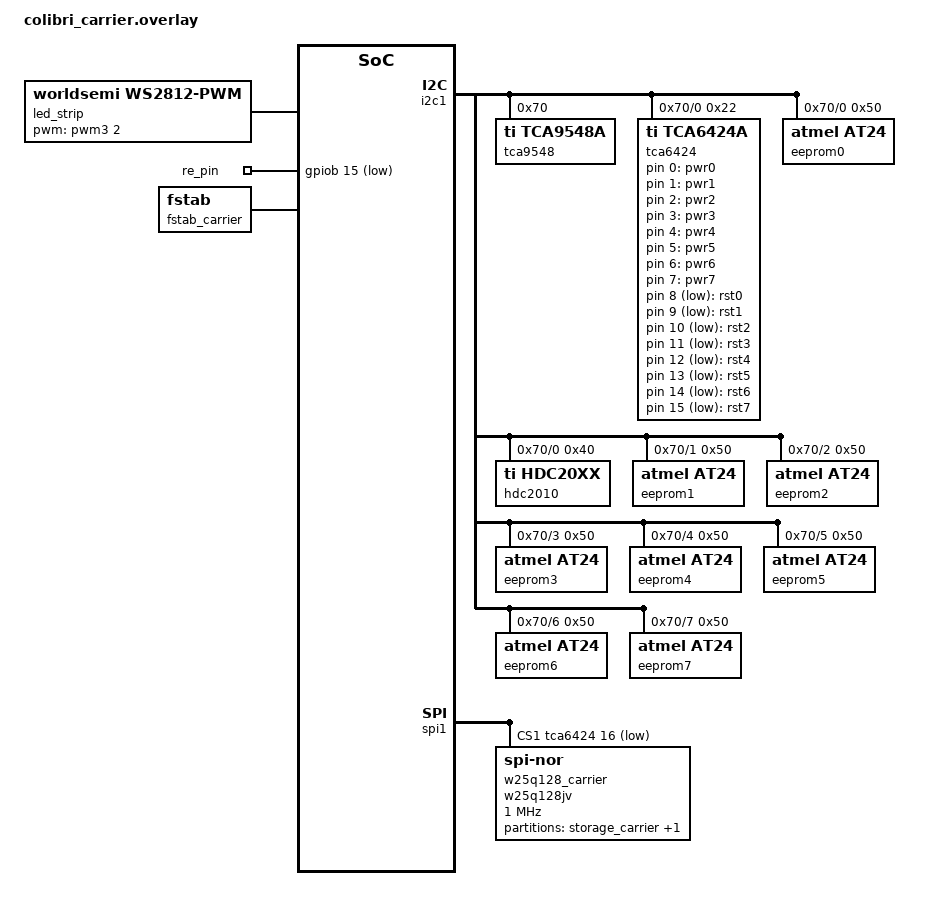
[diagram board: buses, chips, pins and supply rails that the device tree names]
#include <zephyr/dt-bindings/gpio/gpio.h>
#include <zephyr/dt-bindings/pwm/pwm.h>
#include <zephyr/dt-bindings/led/led.h>
#include <zephyr/dt-bindings/dma/stm32_dma.h>

/ {
	aliases {
		led-strip = &led_strip;
		storage-carrier-partition = &storage_carrier_partition;
	};

	/* Power and Reset control for slots */
	slot_ctrl_pwr: slot-ctrl-pwr {
		compatible = "gpio-leds";

		/* Each pin must be a child node for this compatible */
		pwr0: pwr_0 {gpios = <&tca6424 0 GPIO_ACTIVE_HIGH>;};
		pwr1: pwr_1 {gpios = <&tca6424 1 GPIO_ACTIVE_HIGH>;};
		pwr2: pwr_2 {gpios = <&tca6424 2 GPIO_ACTIVE_HIGH>;};
		pwr3: pwr_3 {gpios = <&tca6424 3 GPIO_ACTIVE_HIGH>;};
		pwr4: pwr_4 {gpios = <&tca6424 4 GPIO_ACTIVE_HIGH>;};
		pwr5: pwr_5 {gpios = <&tca6424 5 GPIO_ACTIVE_HIGH>;};
		pwr6: pwr_6 {gpios = <&tca6424 6 GPIO_ACTIVE_HIGH>;};
		pwr7: pwr_7 {gpios = <&tca6424 7 GPIO_ACTIVE_HIGH>;};
	};

	slot_ctrl_rst: slot-ctrl-rst {
		compatible = "gpio-leds";
		rst0: rst_0 {gpios = <&tca6424 8 GPIO_ACTIVE_LOW>;};
		rst1: rst_1 {gpios = <&tca6424 9 GPIO_ACTIVE_LOW>;};
		rst2: rst_2 {gpios = <&tca6424 10 GPIO_ACTIVE_LOW>;};
		rst3: rst_3 {gpios = <&tca6424 11 GPIO_ACTIVE_LOW>;};
		rst4: rst_4 {gpios = <&tca6424 12 GPIO_ACTIVE_LOW>;};
		rst5: rst_5 {gpios = <&tca6424 13 GPIO_ACTIVE_LOW>;};
		rst6: rst_6 {gpios = <&tca6424 14 GPIO_ACTIVE_LOW>;};
		rst7: rst_7 {gpios = <&tca6424 15 GPIO_ACTIVE_LOW>;};
	};

	/* LED_STATUS on PB5 (TIM3_CH2) driven as WS2812B via PWM + DMA. */
	led_strip: ws2812 {
		compatible = "worldsemi,ws2812-pwm";
		chain-length = <8>;
		color-mapping = <LED_COLOR_ID_GREEN LED_COLOR_ID_RED LED_COLOR_ID_BLUE>;
		pwms = <&pwm3 2 PWM_NSEC(1250) PWM_POLARITY_INVERTED>;
		dmas = <&dma1 2 5
		        (STM32_DMA_MEMORY_TO_PERIPH |
				STM32_DMA_MEM_INC |
				STM32_DMA_PERIPH_NO_INC |
				STM32_DMA_PRIORITY_HIGH)
		        0>;
		dma-names = "update";
	};

	rs485_ctrl {
		compatible = "gpio-leds";
		re_pin: re_pin {
			gpios = <&gpiob 15 GPIO_ACTIVE_LOW>;
		};
	};

	fstab_carrier {
		compatible = "zephyr,fstab";
		lfs_carrier: lfs_carrier {
			compatible = "zephyr,fstab,littlefs";
			read-size = <32>;
			prog-size = <32>;
			cache-size = <256>;
			lookahead-size = <64>;
			block-cycles = <512>;
			partition = <&storage_carrier_partition>;
			mount-point = "/carrier";
			automount;
		};
	};
};


&i2c1 {
	status = "okay";

	/* I2C Multiplexer */
	tca9548: tca9548a@70 {
		compatible = "ti,tca9548a";
		reg = <0x70>;
		#address-cells = <1>;
		#size-cells = <0>;
		status = "okay";

		i2c_chan0: i2c@0 {
			reg = <0>;
			#address-cells = <1>;
			#size-cells = <0>;

			/* I/O Expander */
			tca6424: tca6424@22 {
				compatible = "ti,tca6424a";
				reg = <0x22>;
				gpio-controller;
				#gpio-cells = <2>;
				ngpios = <24>;
				status = "okay";
			};

			/* M24M01 EEPROM (1Mbit) */
			eeprom0: m24m01@50 {
				compatible = "atmel,at24";
				reg = <0x50>;
				size = <131072>;
				pagesize = <256>;
				address-width = <16>;
				timeout = <5>;
				status = "okay";
			};

			/* Texas Instruments HDC2010 temperature/humidity sensor. */
			hdc2010: hdc2010@40 {
				compatible = "ti,hdc20xx";
				reg = <0x40>;
				status = "okay";
			};
		};

		i2c_chan1: i2c@1 {
			reg = <1>;
			#address-cells = <1>;
			#size-cells = <0>;
			/* M24M01 EEPROM (1Mbit) */
			eeprom1: m24m01@50 {
				compatible = "atmel,at24";
				reg = <0x50>;
				size = <131072>;
				pagesize = <256>;
				address-width = <16>;
				timeout = <5>;
				status = "okay";
			};
		};

		i2c_chan2: i2c@2 {
			reg = <2>;
			#address-cells = <1>;
			#size-cells = <0>;
			/* M24M01 EEPROM (1Mbit) */
			eeprom2: m24m01@50 {
				compatible = "atmel,at24";
				reg = <0x50>;
				size = <131072>;
				pagesize = <256>;
				address-width = <16>;
				timeout = <5>;
				status = "okay";
			};
		};

		i2c_chan3: i2c@3 {
			reg = <3>;
			#address-cells = <1>;
			#size-cells = <0>;
			/* M24M01 EEPROM (1Mbit) */
			eeprom3: m24m01@50 {
				compatible = "atmel,at24";
				reg = <0x50>;
				size = <131072>;
				pagesize = <256>;
				address-width = <16>;
				timeout = <5>;
				status = "okay";
			};
		};

		i2c_chan4: i2c@4 {
			reg = <4>;
			#address-cells = <1>;
			#size-cells = <0>;
			/* M24M01 EEPROM (1Mbit) */
			eeprom4: m24m01@50 {
				compatible = "atmel,at24";
				reg = <0x50>;
				size = <131072>;
				pagesize = <256>;
				address-width = <16>;
				timeout = <5>;
				status = "okay";
			};
		};

		i2c_chan5: i2c@5 {
			reg = <5>;
			#address-cells = <1>;
			#size-cells = <0>;
			/* M24M01 EEPROM (1Mbit) */
			eeprom5: m24m01@50 {
				compatible = "atmel,at24";
				reg = <0x50>;
				size = <131072>;
				pagesize = <256>;
				address-width = <16>;
				timeout = <5>;
				status = "okay";
			};
		};

		i2c_chan6: i2c@6 {
			reg = <6>;
			#address-cells = <1>;
			#size-cells = <0>;
			/* M24M01 EEPROM (1Mbit) */
			eeprom6: m24m01@50 {
				compatible = "atmel,at24";
				reg = <0x50>;
				size = <131072>;
				pagesize = <256>;
				address-width = <16>;
				timeout = <5>;
				status = "okay";
			};
		};

		i2c_chan7: i2c@7 {
			reg = <7>;
			#address-cells = <1>;
			#size-cells = <0>;
			/* M24M01 EEPROM (1Mbit) */
			eeprom7: m24m01@50 {
				compatible = "atmel,at24";
				reg = <0x50>;
				size = <131072>;
				pagesize = <256>;
				address-width = <16>;
				timeout = <5>;
				status = "okay";
			};
		};
	};

	/*
	 * Two select lines shared by all slots. Combined, they form a
	 * 2-bit address that decodes (on the I/O module) into one of up
	 * to four SPI sub-devices behind the slot's own chip-select on
	 * spi1. Bit 0 is `slot_spi_sel0`, bit 1 is `slot_spi_sel1`.
	 *
	 * They must be driven *before* the spi1 transfer starts, because
	 * spi1 asserts the slot CS during the transfer.
	 */
	slot_spi_sel: slot-spi-sel {
		compatible = "gpio-leds";
		slot_spi_sel0: sel0 { gpios = <&gpioa 4 GPIO_ACTIVE_LOW>; };
		slot_spi_sel1: sel1 { gpios = <&gpioa 8 GPIO_ACTIVE_LOW>; };
	};
};

&spi1 {
	status = "okay";
	/* PB2 is index 0 (Onboard Flash),
	 * TCA6424 P20 is index 1 (Carrier Board Flash),
	 * TCA6424 P21..P27 is index 2..8 (Slots 1..7)
	 * In Zephyr, TC6424A gpio numbers are linear 0..23
	 */
	cs-gpios = <&gpiob 2 GPIO_ACTIVE_LOW>,
			   <&tca6424 16 GPIO_ACTIVE_LOW>,
			   <&tca6424 17 GPIO_ACTIVE_LOW>,
			   <&tca6424 18 GPIO_ACTIVE_LOW>,
			   <&tca6424 19 GPIO_ACTIVE_LOW>,
			   <&tca6424 20 GPIO_ACTIVE_LOW>,
			   <&tca6424 21 GPIO_ACTIVE_LOW>,
			   <&tca6424 22 GPIO_ACTIVE_LOW>,
			   <&tca6424 23 GPIO_ACTIVE_LOW>;

	/* Carrier Board Flash */
		w25q128_carrier: w25q128jv@1 {
			compatible = "jedec,spi-nor";
			reg = <1>;
			spi-max-frequency = <1000000>;
			size = <0x8000000>;
			jedec-id = [ef 40 18];
			status = "okay";
		};
};

&w25q128_carrier {
	partitions {
		compatible = "fixed-partitions";
		#address-cells = <1>;
		#size-cells = <1>;

		storage_carrier_partition: partition@0 {  // 15.4MB of LittleFS
		label = "storage_carrier";
			reg = <0x00000000 0x00FE0000>;
		};

		settings_carrier_partition: partition@fe0000 {  // 2x64kB for NVS settings.
		label = "settings_carrier";
			reg = <0x00FE0000 0x00020000>;
		};
	};
};

